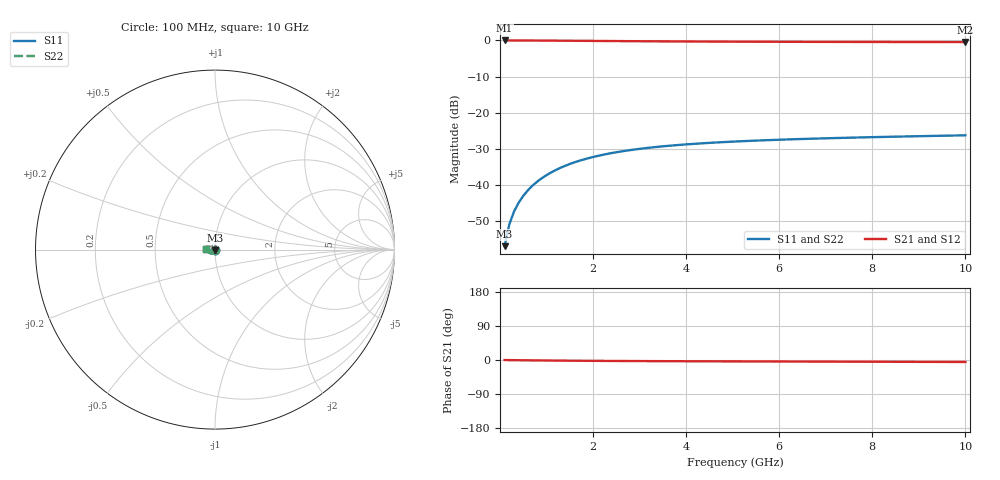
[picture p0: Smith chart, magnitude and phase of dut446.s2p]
! Touchstone file exported from HFSS 2024.1.0
!  File:  C:/UserFiles/LocalFiles/RDL_TSV_Batchsim/temp_TSV1_446_1779695912.aedt
!  Generated:  04:05:00 PM May 25, 2026
!  Design:  TSV1
!  Project:  temp_TSV1_446_1779695912
!  Setup:  Setup1
!  Solution:  Sweep
! Variables:
!  dtsv = 12.34um
!  hbump = 3um
!  htsv = 79.59um
!  lrdl = 252.1521522um
!  p = 40
!  p1 = 59.98um
!  t = 500um
!  trdl = 3um
!  wrdl = 24.89489489um
# GHz S MA R 50.000000
! Terminal data exported
! Port[1] = TSV22_T1
! Port[2] = TSV22_T2
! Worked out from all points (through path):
!   100 points, 100 MHz to 10 GHz, reference 50 ohm
!   highest |S21| = 0.00 dB at 100 MHz (marker M1); lowest = -0.4 dB at 10 GHz (marker M2)
!   lowest |S11| = -56.9 dB at 100 MHz (marker M3), VSWR 1.00, Z = 50 - j0.143 ohm
!   |S11| at or under -10 dB: start of sweep to end of sweep
!   |S22| runs from -56.9 to -26.2 dB; largest |S21 - S12| = 1.3e-14
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0.1  0.001429 -88.3  0.9999 -0.1  0.9999 -0.1  0.001429 -88.3
! Gamma 0 0 0 0
! Port Impedance 50 0 50 0
0.2  0.002853 -92.1  0.9997 -0.3  0.9997 -0.3  0.002853 -92.1
0.3  0.004274 -94.6  0.9994 -0.4  0.9994 -0.4  0.004274 -94.6
0.4  0.005687 -97.0  0.999 -0.5  0.999 -0.5  0.005687 -97.0
0.5  0.007086 -99.2  0.9986 -0.7  0.9986 -0.7  0.007086 -99.2
0.6  0.008467 -101.3  0.998 -0.8  0.998 -0.8  0.008467 -101.3
0.7  0.009825 -103.4  0.9974 -0.9  0.9974 -0.9  0.009825 -103.4
0.8  0.01116 -105.4  0.9967 -1.1  0.9967 -1.1  0.01116 -105.4
0.9  0.01246 -107.4  0.996 -1.2  0.996 -1.2  0.01246 -107.4
1.1  0.01497 -111.3  0.9943 -1.4  0.9943 -1.4  0.01497 -111.3
1.4  0.01846 -116.8  0.9915 -1.7  0.9915 -1.7  0.01846 -116.8
1.6  0.0206 -120.2  0.9894 -1.9  0.9894 -1.9  0.0206 -120.2
1.8  0.02259 -123.5  0.9873 -2.1  0.9873 -2.1  0.02259 -123.5
2.1  0.0253 -128.2  0.9842 -2.3  0.9842 -2.3  0.0253 -128.2
2.5  0.02843 -133.9  0.9802 -2.6  0.9802 -2.6  0.02843 -133.9
2.9  0.03109 -139.0  0.9765 -2.8  0.9765 -2.8  0.03109 -139.0
3.4  0.03385 -144.7  0.9723 -3.0  0.9723 -3.0  0.03385 -144.7
4.2  0.03728 -152.6  0.9667 -3.3  0.9667 -3.3  0.03728 -152.6
5.1  0.04015 -160.0  0.9619 -3.6  0.9619 -3.6  0.04015 -160.0
6.7  0.04378 -170.5  0.9561 -4.2  0.9561 -4.2  0.04378 -170.5
8.4  0.04657 -179.4  0.9521 -4.7  0.9521 -4.7  0.04657 -179.4
10  0.04876 173.5  0.9496 -5.2  0.9496 -5.2  0.04876 173.5
